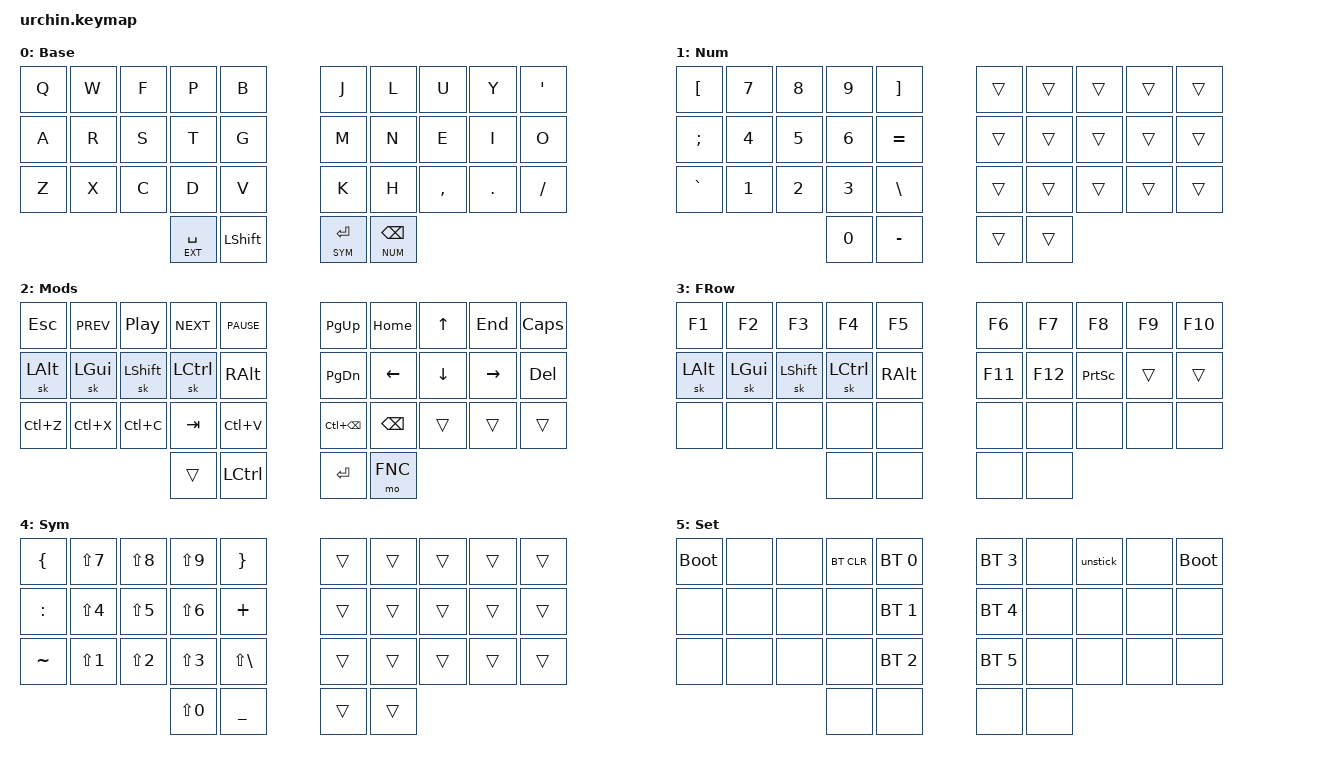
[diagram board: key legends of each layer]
/*
 * Copyright (c) 2020 duckyb
 *
 * SPDX-License-Identifier: MIT
 */

#include <behaviors.dtsi>
#include <dt-bindings/zmk/keys.h>
#include <dt-bindings/zmk/bt.h>
#include <dt-bindings/zmk/outputs.h>
#include "keymap_italian.h"

// Layer definitions
#define BASE 0
#define NUM 1
#define EXT 2
#define FNC 3
#define SYM 4
#define SETTINGS 5
// -----------------

// Using layer taps on thumbs, having quick tap as well helps w/ repeating space/backspace
&lt { quick_tap_ms = <200>; };

&sk {
	// don't release mods on other mods presses
	ignore-modifiers;
};

/ {
	macros {
		// sometimes my device thinks a modifier is being held down
		// pressing all modifiers fixes it.
		unstick: unstick {
			label = "ZM_unstick";
			compatible = "zmk,behavior-macro";
			#binding-cells = <0>;
			bindings = <&kp LSHIFT &kp RSHIFT &kp LCTRL &kp RCTRL &kp LALT &kp RALT &kp LGUI &kp RGUI>;
		};
	};

	combos {
		compatible = "zmk,combos";
		// internal-left & external-right thumb keys
		//combo_sym2 {
		//	timeout-ms = <200>;
		//	key-positions = <31 33>;
		//	bindings = <&mo SYM2>;
		//};
		// both left thumb keys
		combo_settings {
			timeout-ms = <200>;
			key-positions = <30 31>;
			bindings = <&mo SETTINGS>;
		};	
	};

	keymap {
		compatible = "zmk,keymap";
		// Base alpha layer
		default_layer {
			label = "Base";
			bindings = <
			&kp Q &kp W &kp F &kp P &kp B                     &kp J &kp L  &kp U     &kp Y   &kp QUOT 
			&kp A &kp R &kp S &kp T &kp G                     &kp M &kp N  &kp E     &kp I   &kp O
			&kp Z &kp X &kp C &kp D &kp V                     &kp K &kp H  &kp COMMA &kp DOT &kp FSLH
							          &lt EXT SPACE &kp LSHIFT        &lt SYM RET  &lt NUM BSPC
			>;
		};

		// Numbers and high frequency symbols
		num_layer {
			label = "Num";
			bindings = <
			&kp LBKT  &kp N7 &kp N8 &kp N9 &kp RBKT    &trans &trans &trans &trans &trans
			&kp SEMI  &kp N4 &kp N5 &kp N6 &kp EQUAL   &trans &trans &trans &trans &trans
			&kp GRAVE &kp N1 &kp N2 &kp N3 &kp BSLH 	 &trans &trans &trans &trans &trans
														  &kp N0 &kp MINUS   &trans &trans
			>;
		};

		// Main modifiers and arrow keys
		ext_layer {
			label = "Mods";
			bindings = <
			&kp ESC  &kp C_PREV &kp C_PP  &kp C_NEXT  &kp C_PAUSE    &kp PG_UP    &kp HOME &kp UP   &kp END   &kp CAPS
			&sk LALT &sk LGUI  &sk LSHIFT  &sk LCTRL  &kp RALT 			 &kp PG_DN    &kp LEFT &kp DOWN &kp RIGHT &kp DEL
			&kp LC(Z)  &kp LC(X) &kp LC(C) &kp TAB    &kp LC(V)      &kp LC(BSPC) &kp BSPC &trans   &trans    &trans
																		 &trans     &kp LCTRL      &kp ENTER    &mo FNC 
			>;
		};

		// Function keys with modifiers
		fnc_layer {
			label = "FRow";
			bindings = <
			&kp F1   &kp F2   &kp F3     &kp F4    &kp F5      &kp F6  &kp F7  &kp F8          &kp F9 &kp F10 
			&sk LALT &sk LGUI &sk LSHIFT &sk LCTRL &kp RALT    &kp F11 &kp F12 &kp PRINTSCREEN &trans &trans
			&none    &none    &none      &none     &none			 &none   &none   &none           &none  &none 
							                     &none     &none       &none   &none  
			>;
		};

		// Symbols.
		symbols_layer {
			label = "Sym";
			bindings = <
			&kp LBRC  &kp LS(N7) &kp LS(N8) &kp LS(N9) &kp RBRC        &trans &trans &trans &trans &trans 
			&kp COLON &kp LS(N4) &kp LS(N5) &kp LS(N6) &kp PLUS        &trans &trans &trans &trans &trans
			&kp TILDE &kp LS(N1) &kp LS(N2) &kp LS(N3) &kp LS(BSLH)    &trans &trans &trans &trans &trans
								                      &kp LS(N0) &kp UNDER       &trans &trans 
			>;
		};

		// Used to change the keyboard's settings.
		settings_layer {
				label = "Set";
				bindings = <
				&bootloader &none &none &bt BT_CLR &bt BT_SEL 0               &bt BT_SEL 3 &none &unstick &none &bootloader 
				&none       &none &none &none      &bt BT_SEL 1 						  &bt BT_SEL 4 &none &none &none &none
				&none       &none &none &none      &bt BT_SEL 2               &bt BT_SEL 5 &none &none &none &none
										            &none      &none                      &none        &none 
				>;
		};
	};
};
